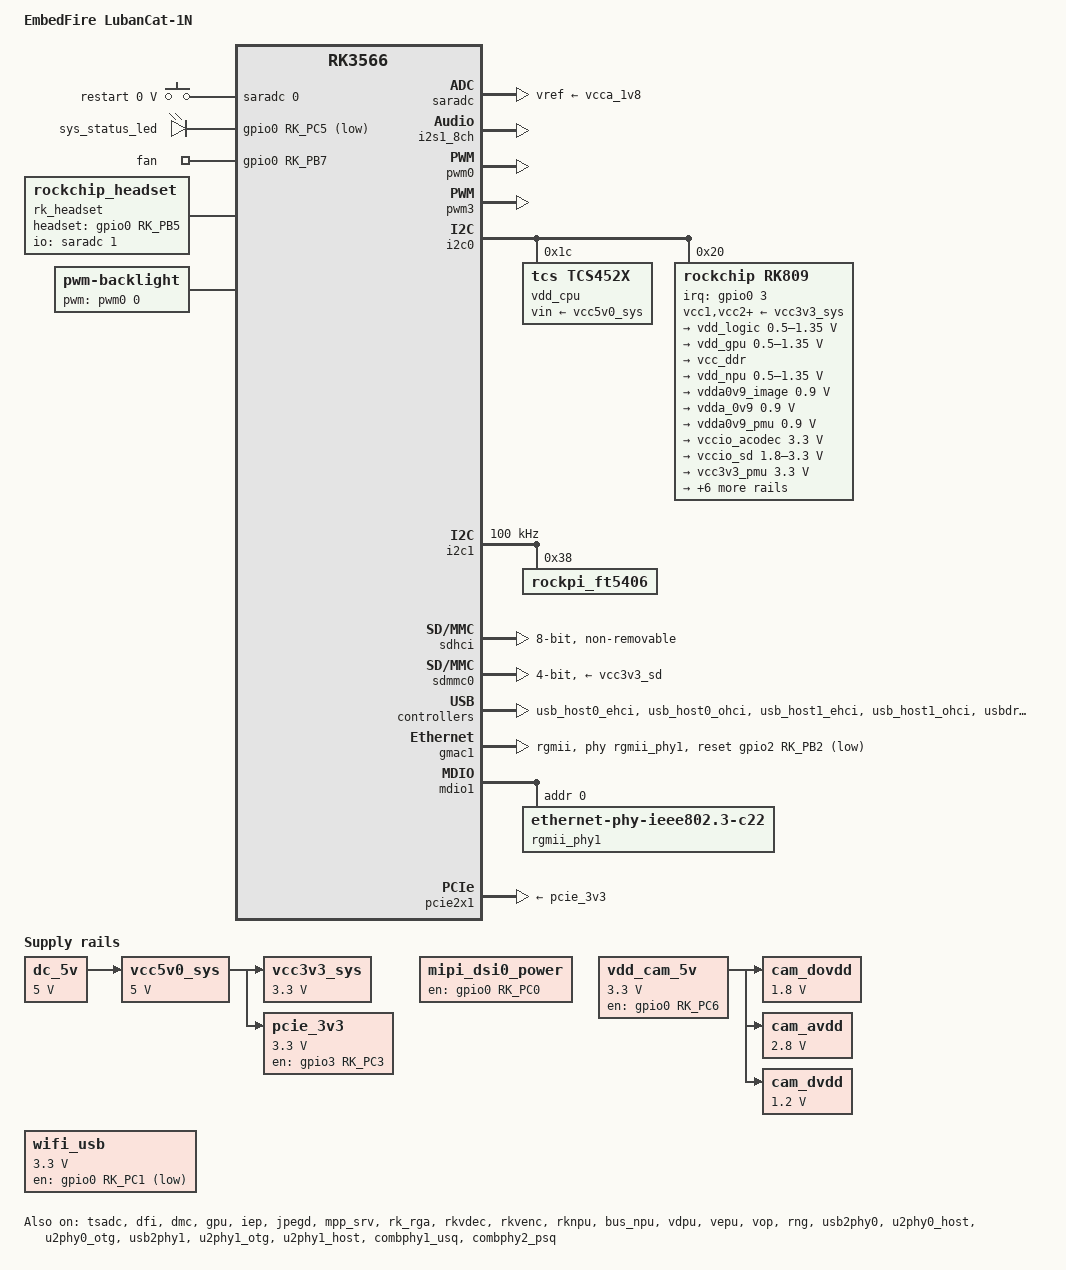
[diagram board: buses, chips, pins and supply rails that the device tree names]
// SPDX-License-Identifier: (GPL-2.0+ OR MIT)
/*
 * Copyright (c) 2020 Rockchip Electronics Co., Ltd.
 *
 */

 /dts-v1/;

#include <dt-bindings/gpio/gpio.h>
#include <dt-bindings/pwm/pwm.h>
#include <dt-bindings/pinctrl/rockchip.h>
#include <dt-bindings/input/rk-input.h>
#include <dt-bindings/display/drm_mipi_dsi.h>
#include <dt-bindings/display/rockchip_vop.h>
#include <dt-bindings/sensor-dev.h>
#include "rk3566.dtsi"

//MIPI摄像头配置
#include "rk3568-lubancat-csi2.dtsi"

/*  屏幕设置，通用镜像使用设备树插件,默认开启hdmi
	专用镜像如果要开启MIPI屏幕支持，按屏幕型号开启2-4
	以下4个配置互斥，不可同时开启
*/
//#include "rk3566-lubancat-hdmi.dtsi" //HDMI输出
// #include "rk3566-lubancat-dsi0-ebf410125_720p.dtsi" //野火5.5寸 720P
// #include "rk3566-lubancat-dsi0-ebf410125_1080p.dtsi" //野火5.5寸 1080P
// #include "rk3566-lubancat-dsi0-rpi.dtsi" //树莓派 5寸 800x480


/ {
	model = "EmbedFire LubanCat-1N";
	compatible = "embedfire,lubancat-1n", "rockchip,rk3566";

	chosen: chosen {
		bootargs = "earlycon=uart8250,mmio32,0xfe660000 console=ttyFIQ0 root=PARTUUID=614e0000-0000 rw rootwait";
	};

	fiq-debugger {
		compatible = "rockchip,fiq-debugger";
		rockchip,serial-id = <2>;
		rockchip,wake-irq = <0>;
		/* If enable uart uses irq instead of fiq */
		rockchip,irq-mode-enable = <1>;
		rockchip,baudrate = <1500000>;  /* Only 115200 and 1500000 */
		interrupts = <GIC_SPI 252 IRQ_TYPE_LEVEL_LOW>;
		pinctrl-names = "default";
		pinctrl-0 = <&uart2m0_xfer>;
		status = "okay";
	};

	debug: debug@fd904000 {
		compatible = "rockchip,debug";
		reg = <0x0 0xfd904000 0x0 0x1000>,
			<0x0 0xfd905000 0x0 0x1000>,
			<0x0 0xfd906000 0x0 0x1000>,
			<0x0 0xfd907000 0x0 0x1000>;
	};

	cspmu: cspmu@fd90c000 {
		compatible = "rockchip,cspmu";
		reg = <0x0 0xfd90c000 0x0 0x1000>,
			<0x0 0xfd90d000 0x0 0x1000>,
			<0x0 0xfd90e000 0x0 0x1000>,
			<0x0 0xfd90f000 0x0 0x1000>;
	};

	reserved-memory {
		#address-cells = <2>;
		#size-cells = <2>;
		ranges;
		ramoops: ramoops@110000 {
			compatible = "ramoops";
			reg = <0x0 0x110000 0x0 0xf0000>;
			record-size = <0x20000>;
			console-size = <0x80000>;
			ftrace-size = <0x00000>;
			pmsg-size = <0x50000>;
		};
	};

	adc_keys: adc-keys {
		compatible = "adc-keys";
		io-channels = <&saradc 0>;
		io-channel-names = "buttons";
		keyup-threshold-microvolt = <1800000>;
		poll-interval = <100>;

		restart-key {
			label = "restart";
			linux,code = <KEY_RESTART>;
			press-threshold-microvolt = <9>;
		};
	};

	dc_5v: dc-5v {
		compatible = "regulator-fixed";
		regulator-name = "dc_5v";
		regulator-always-on;
		regulator-boot-on;
		regulator-min-microvolt = <5000000>;
		regulator-max-microvolt = <5000000>;
	};

	vcc5v0_sys: vcc5v0-sys {
		compatible = "regulator-fixed";
		regulator-name = "vcc5v0_sys";
		regulator-always-on;
		regulator-boot-on;
		regulator-min-microvolt = <5000000>;
		regulator-max-microvolt = <5000000>;
		vin-supply = <&dc_5v>;
	};

	vcc3v3_sys: vcc3v3-sys {
		compatible = "regulator-fixed";
		regulator-name = "vcc3v3_sys";
		regulator-always-on;
		regulator-boot-on;
		regulator-min-microvolt = <3300000>;
		regulator-max-microvolt = <3300000>;
		vin-supply = <&vcc5v0_sys>;
	};

	pcie_3v3: pcie2-3v3-regulator {
		compatible = "regulator-fixed";
		regulator-name = "pcie_3v3";
		regulator-min-microvolt = <3300000>;
		regulator-max-microvolt = <3300000>;
		enable-active-high;
		gpio = <&gpio3 RK_PC3 GPIO_ACTIVE_HIGH>;
		startup-delay-us = <5000>;
		vin-supply = <&vcc5v0_sys>;
	};

	mipi_dsi0_power: mipi-dsi0-power-regulator {
		compatible = "regulator-fixed";
		enable-active-high;
		gpio = <&gpio0 RK_PC0 GPIO_ACTIVE_HIGH>;
		pinctrl-names = "default";
		pinctrl-0 = <&mipi_dsi0_pwr_en>;
		regulator-name = "mipi_dsi0_power";
		regulator-always-on;
	};

	vdd_cam_5v: vdd-cam-5v-regulator {
		compatible = "regulator-fixed";
		regulator-name = "vdd_cam_5v";
		regulator-min-microvolt = <3300000>;
		regulator-max-microvolt = <3300000>;
		gpio = <&gpio0 RK_PC6 GPIO_ACTIVE_HIGH>;
		pinctrl-names = "default";
		pinctrl-0 = <&cam_pwr_en>;
		enable-active-high;
		regulator-always-on;
	};

	cam_dovdd: cam-dovdd {
		compatible = "regulator-fixed";
		regulator-name = "cam_dovdd";
		regulator-always-on;
		regulator-boot-on;
		regulator-min-microvolt = <1800000>;
		regulator-max-microvolt = <1800000>;
		vin-supply = <&vdd_cam_5v>;
	};

	cam_avdd: cam-avdd {
		compatible = "regulator-fixed";
		regulator-name = "cam_avdd";
		regulator-always-on;
		regulator-boot-on;
		regulator-min-microvolt = <2800000>;
		regulator-max-microvolt = <2800000>;
		vin-supply = <&vdd_cam_5v>;
	};

	cam_dvdd: cam-dvdd {
		compatible = "regulator-fixed";
		regulator-name = "cam_dvdd";
		regulator-always-on;
		regulator-boot-on;
		regulator-min-microvolt = <1200000>;
		regulator-max-microvolt = <1200000>;
		vin-supply = <&vdd_cam_5v>;
	};

	leds: leds {
		status = "okay";
		compatible = "gpio-leds";

		sys_status_led: sys-status-led {
			label = "sys_status_led";
			linux,default-trigger = "heartbeat";
			default-state = "on";
			gpios = <&gpio0 RK_PC5 GPIO_ACTIVE_LOW>;
			pinctrl-names = "default";
			pinctrl-0 = <&sys_status_led_pin>;
		};

		fan: fan {
			label = "fan";
			default-state = "on";
			linux,default-trigger = "none";
			gpios = <&gpio0 RK_PB7 GPIO_ACTIVE_HIGH>;
			pinctrl-names = "default";
			pinctrl-0 = <&fan_pin>;
		};
		
	};

	rk809_sound: rk809-sound {
		status = "okay";
		compatible = "simple-audio-card";
		simple-audio-card,format = "i2s";
		simple-audio-card,name = "rockchip,rk809-codec";
		simple-audio-card,mclk-fs = <256>;
		simple-audio-card,widgets =
			"Microphone", "Mic Jack",
			"Headphone", "Headphone Jack";
		simple-audio-card,routing =
			"Mic Jack", "MICBIAS1",
			"IN1P", "Mic Jack",
			"Headphone Jack", "HPOL",
			"Headphone Jack", "HPOR";
		simple-audio-card,cpu {
			sound-dai = <&i2s1_8ch>;
		};
		simple-audio-card,codec {
			sound-dai = <&rk809_codec>;
		};
	};

	rk_headset: rk-headset {
		status = "okay";
		compatible = "rockchip_headset";
		headset_gpio = <&gpio0 RK_PB5 GPIO_ACTIVE_HIGH>;
		pinctrl-names = "default";
		pinctrl-0 = <&hp_det>;
		io-channels = <&saradc 1>;
	};

	backlight: backlight {
		status = "okay";
		compatible = "pwm-backlight";
		pwms = <&pwm0 0 50000 0>;
		brightness-levels = <
			 95  95  95  95  95  95  95  95
			 95  95  95  95  95  95  95  95
			 95  95  95  95  95  95  95  95
			 95  95  95  95  95  95  95  95
			 95  95  95  95  95  95  95  95
			 95  95  95  95  95  95  95  95
			 95  95  95  95  95  95  95  95
			 95  95  95  95  95  95  95  95
			 95  95  95  95  95  95  95  95
			 95  95  95  95  95  95  95  95
			 95  95  95  95  95  95  95  95
			 88  89  90  91  92  93  94  95
			 96  97  98  99 100 101 102 103
			104 105 106 107 108 109 110 111
			112 113 114 115 116 117 118 119
			120 121 122 123 124 125 126 127
			128 129 130 131 132 133 134 135
			136 137 138 139 140 141 142 143
			144 145 146 147 148 149 150 151
			152 153 154 155 156 157 158 159
			160 161 162 163 164 165 166 167
			168 169 170 171 172 173 174 175
			176 177 178 179 180 181 182 183
			184 185 186 187 188 189 190 191
			192 193 194 195 196 197 198 199
			200 201 202 203 204 205 206 207
			208 209 210 211 212 213 214 215
			216 217 218 219 220 221 222 223
			224 225 226 227 228 229 230 231
			232 233 234 235 236 237 238 239
			240 241 242 243 244 245 246 247
			248 249 250 251 252 253 254 255
		>;
		default-brightness-level = <200>;
	};

	wifi_usb: wifi-usb {
		compatible = "regulator-fixed";
		regulator-name = "wifi_usb";
		regulator-min-microvolt = <3300000>;
		regulator-max-microvolt = <3300000>;
		pinctrl-names = "default";
		pinctrl-0 = <&wifi_poweren_gpio>;		
		regulator-always-on;
		enable-active-low;
		gpio = <&gpio0 RK_PC1 GPIO_ACTIVE_LOW>;
	};

	test-power {
		status = "okay";
	};
};

&saradc {
	vref-supply = <&vcca_1v8>;
	status = "okay";
};

&tsadc {
	status = "okay";
};

&i2s1_8ch {
	status = "okay";
	rockchip,clk-trcm = <1>;
	/delete-property/ rockchip,playback-only;
	pinctrl-names = "default";
	pinctrl-0 = <&i2s1m0_sclktx
					&i2s1m0_lrcktx
					&i2s1m0_sdi0
					&i2s1m0_sdo0>;
};

&pwm0 {
	status = "okay";
	pinctrl-0 = <&pwm0m1_pins>;
};

&pwm3 {
	status = "okay";

	compatible = "rockchip,remotectl-pwm";
	remote_pwm_id = <3>;
	handle_cpu_id = <1>;
	remote_support_psci = <0>;
	pinctrl-names = "default";
	pinctrl-0 = <&pwm3_pins>;

	ir_key_lubancat{
		rockchip,usercode = <0xff00>;
		rockchip,key_table =
			<0xeb   KEY_POWER>,
			<0xec   KEY_MENU>,
			<0xfe   KEY_BACK>,
			<0xb7   KEY_HOME>,
			<0xa3   KEY_WWW>,
			<0xf4   KEY_VOLUMEUP>,
			<0xa7   KEY_VOLUMEDOWN>,
			<0xf8   KEY_REPLY>,
			<0xfc   KEY_UP>,
			<0xfd   KEY_DOWN>,
			<0xf1   KEY_LEFT>,
			<0xe5   KEY_RIGHT>;
	};
};

&cpu0 {
	cpu-supply = <&vdd_cpu>;
};

&dfi {
	status = "okay";
};

&dmc {
	center-supply = <&vdd_logic>;
	status = "okay";
};

&gpu {
	mali-supply = <&vdd_gpu>;
	status = "okay";
};

&i2c0 {
	status = "okay";

	vdd_cpu: tcs4525@1c {
		compatible = "tcs,tcs452x";
		reg = <0x1c>;
		vin-supply = <&vcc5v0_sys>;
		regulator-compatible = "fan53555-reg";
		regulator-name = "vdd_cpu";
		regulator-min-microvolt = <712500>;
		regulator-max-microvolt = <1390000>;
		regulator-ramp-delay = <2300>;
		fcs,suspend-voltage-selector = <1>;
		regulator-boot-on;
		regulator-always-on;
		regulator-state-mem {
			regulator-off-in-suspend;
		};
	};

	rk809: pmic@20 {
		compatible = "rockchip,rk809";
		reg = <0x20>;
		interrupt-parent = <&gpio0>;
		interrupts = <3 IRQ_TYPE_LEVEL_LOW>;

		pinctrl-names = "default", "pmic-sleep",
						"pmic-power-off", "pmic-reset";
		pinctrl-0 = <&pmic_int>;
		pinctrl-1 = <&soc_slppin_slp>, <&rk817_slppin_slp>;
		pinctrl-2 = <&soc_slppin_gpio>, <&rk817_slppin_pwrdn>;
		pinctrl-3 = <&soc_slppin_gpio>, <&rk817_slppin_rst>;

		rockchip,system-power-controller;
		wakeup-source;
		#clock-cells = <1>;
		clock-output-names = "rk808-clkout1", "rk808-clkout2";
		//fb-inner-reg-idxs = <2>;
		/* 1: rst regs (default in codes), 0: rst the pmic */
		pmic-reset-func = <0>;
		/* not save the PMIC_POWER_EN register in uboot */
		not-save-power-en = <1>;

		vcc1-supply = <&vcc3v3_sys>;
		vcc2-supply = <&vcc3v3_sys>;
		vcc3-supply = <&vcc3v3_sys>;
		vcc4-supply = <&vcc3v3_sys>;
		vcc5-supply = <&vcc3v3_sys>;
		vcc6-supply = <&vcc3v3_sys>;
		vcc7-supply = <&vcc3v3_sys>;
		vcc8-supply = <&vcc3v3_sys>;
		vcc9-supply = <&vcc3v3_sys>;

		pwrkey {
			status = "okay";
		};

		pinctrl_rk8xx: pinctrl_rk8xx {
			gpio-controller;
			#gpio-cells = <2>;

			rk817_slppin_null: rk817_slppin_null {
				pins = "gpio_slp";
				function = "pin_fun0";
			};

			rk817_slppin_slp: rk817_slppin_slp {
				pins = "gpio_slp";
				function = "pin_fun1";
			};

			rk817_slppin_pwrdn: rk817_slppin_pwrdn {
				pins = "gpio_slp";
				function = "pin_fun2";
			};

			rk817_slppin_rst: rk817_slppin_rst {
				pins = "gpio_slp";
				function = "pin_fun3";
			};
		};

		regulators {
			vdd_logic: DCDC_REG1 {
				regulator-always-on;
				regulator-boot-on;
				regulator-min-microvolt = <500000>;
				regulator-max-microvolt = <1350000>;
				regulator-init-microvolt = <900000>;
				regulator-ramp-delay = <6001>;
				regulator-initial-mode = <0x2>;
				regulator-name = "vdd_logic";
				regulator-state-mem {
					regulator-off-in-suspend;
				};
			};

			vdd_gpu: DCDC_REG2 {
				regulator-always-on;
				regulator-boot-on;
				regulator-min-microvolt = <500000>;
				regulator-max-microvolt = <1350000>;
				regulator-init-microvolt = <900000>;
				regulator-ramp-delay = <6001>;
				regulator-initial-mode = <0x2>;
				regulator-name = "vdd_gpu";
				regulator-state-mem {
					regulator-off-in-suspend;
				};
			};

			vcc_ddr: DCDC_REG3 {
				regulator-always-on;
				regulator-boot-on;
				regulator-initial-mode = <0x2>;
				regulator-name = "vcc_ddr";
				regulator-state-mem {
					regulator-on-in-suspend;
				};
			};

			vdd_npu: DCDC_REG4 {
				regulator-always-on;
				regulator-boot-on;
				regulator-min-microvolt = <500000>;
				regulator-max-microvolt = <1350000>;
				regulator-init-microvolt = <900000>;
				regulator-ramp-delay = <6001>;
				regulator-initial-mode = <0x2>;
				regulator-name = "vdd_npu";
				regulator-state-mem {
					regulator-off-in-suspend;
				};
			};

			vdda0v9_image: LDO_REG1 {
				regulator-boot-on;
				regulator-always-on;
				regulator-min-microvolt = <900000>;
				regulator-max-microvolt = <900000>;
				regulator-name = "vdda0v9_image";
				regulator-state-mem {
					regulator-off-in-suspend;
				};
			};

			vdda_0v9: LDO_REG2 {
				regulator-always-on;
				regulator-boot-on;
				regulator-min-microvolt = <900000>;
				regulator-max-microvolt = <900000>;
				regulator-name = "vdda_0v9";
				regulator-state-mem {
					regulator-off-in-suspend;
				};
			};

			vdda0v9_pmu: LDO_REG3 {
				regulator-always-on;
				regulator-boot-on;
				regulator-min-microvolt = <900000>;
				regulator-max-microvolt = <900000>;
				regulator-name = "vdda0v9_pmu";
				regulator-state-mem {
					regulator-on-in-suspend;
					regulator-suspend-microvolt = <900000>;
				};
			};

			vccio_acodec: LDO_REG4 {
				regulator-always-on;
				regulator-boot-on;
				regulator-min-microvolt = <3300000>;
				regulator-max-microvolt = <3300000>;
				regulator-name = "vccio_acodec";
				regulator-state-mem {
					regulator-off-in-suspend;
				};
			};

			vccio_sd: LDO_REG5 {
				regulator-always-on;
				regulator-boot-on;
				regulator-min-microvolt = <1800000>;
				regulator-max-microvolt = <3300000>;
				regulator-name = "vccio_sd";
				regulator-state-mem {
					regulator-off-in-suspend;
				};
			};

			vcc3v3_pmu: LDO_REG6 {
				regulator-always-on;
				regulator-boot-on;
				regulator-min-microvolt = <3300000>;
				regulator-max-microvolt = <3300000>;
				regulator-name = "vcc3v3_pmu";
				regulator-state-mem {
					regulator-on-in-suspend;
					regulator-suspend-microvolt = <3300000>;
				};
			};

			vcca_1v8: LDO_REG7 {
				regulator-always-on;
				regulator-boot-on;
				regulator-min-microvolt = <1800000>;
				regulator-max-microvolt = <1800000>;
				regulator-name = "vcca_1v8";
				regulator-state-mem {
					regulator-off-in-suspend;
				};
			};

			vcca1v8_pmu: LDO_REG8 {
				regulator-always-on;
				regulator-boot-on;
				regulator-min-microvolt = <1800000>;
				regulator-max-microvolt = <1800000>;
				regulator-name = "vcca1v8_pmu";
				regulator-state-mem {
					regulator-on-in-suspend;
					regulator-suspend-microvolt = <1800000>;
				};
			};

			vcca1v8_image: LDO_REG9 {
				regulator-always-on;
				regulator-boot-on;
				regulator-min-microvolt = <1800000>;
				regulator-max-microvolt = <1800000>;
				regulator-name = "vcca1v8_image";
				regulator-state-mem {
					regulator-off-in-suspend;
				};
			};

			vcc_1v8: DCDC_REG5 {
				regulator-always-on;
				regulator-boot-on;
				regulator-min-microvolt = <1800000>;
				regulator-max-microvolt = <1800000>;
				regulator-name = "vcc_1v8";
				regulator-state-mem {
					regulator-off-in-suspend;
				};
			};

			vcc_3v3: SWITCH_REG1 {
				regulator-always-on;
				regulator-boot-on;
				regulator-name = "vcc_3v3";
				regulator-state-mem {
					regulator-off-in-suspend;
				};
			};

			vcc3v3_sd: SWITCH_REG2 {
				regulator-always-on;
				regulator-boot-on;
				regulator-name = "vcc3v3_sd";
				regulator-state-mem {
					regulator-off-in-suspend;
				};
			};
		};

		rk809_codec: codec {
			#sound-dai-cells = <0>;
			compatible = "rockchip,rk809-codec", "rockchip,rk817-codec";
			clocks = <&cru I2S1_MCLKOUT_TX>;
			clock-names = "mclk";
			assigned-clocks = <&cru I2S1_MCLKOUT_TX>, <&cru I2S1_MCLK_TX_IOE>;
			assigned-clock-rates = <12288000>;
			assigned-clock-parents = <&cru CLK_I2S1_8CH_TX>, <&cru I2S1_MCLKOUT_TX>;
			pinctrl-names = "default";
			pinctrl-0 = <&i2s1m0_mclk>;
			hp-volume = <20>;
			spk-volume = <3>;
			//mic-in-differential;
			status = "okay";
		};
	};
};

//cam-gpio-setting
&ov5647 {
    pwdn-gpios = <&gpio0 RK_PC3 GPIO_ACTIVE_LOW>;
};

&ov5648 {
	pwdn-gpios = <&gpio0 RK_PC3 GPIO_ACTIVE_HIGH>;
	reset-gpios = <&gpio0 RK_PC4 GPIO_ACTIVE_LOW>;
};

&ov8858 {
	pwdn-gpios = <&gpio0 RK_PC3 GPIO_ACTIVE_HIGH>;
	reset-gpios = <&gpio0 RK_PC4 GPIO_ACTIVE_HIGH>;
};

&ov13850 {
	pwdn-gpios = <&gpio0 RK_PC3 GPIO_ACTIVE_HIGH>;
	reset-gpios = <&gpio0 RK_PC4 GPIO_ACTIVE_HIGH>;
};
 
&sc132gs {
	pwdn-gpios = <&gpio0 RK_PC3 GPIO_ACTIVE_HIGH>;
	reset-gpios = <&gpio0 RK_PC4 GPIO_ACTIVE_HIGH>;
};

&i2c1 {
	status = "okay";
	clock-frequency = <100000>;

	rockpi_ft5406: rockpi_ft5406@38 {
		compatible = "rockpi_ft5406";
		reg = <0x38>;
		status = "okay";
	};
};

&iep {
	status = "okay";
};

&iep_mmu {
	status = "okay";
};

&jpegd {
	status = "okay";
};

&jpegd_mmu {
	status = "okay";
};

&mpp_srv {
	status = "okay";
};

&pmu_io_domains {
	status = "okay";
	pmuio2-supply = <&vcc3v3_pmu>;
	vccio1-supply = <&vccio_acodec>;
	vccio3-supply = <&vccio_sd>;
	vccio4-supply = <&vcc_3v3>;
	vccio5-supply = <&vcc_3v3>;
	vccio6-supply = <&vcc_1v8>;
	vccio7-supply = <&vcc_3v3>;
};

&rk_rga {
	status = "okay";
};

&rkvdec {
	status = "okay";
};

&rkvdec_mmu {
	status = "okay";
};

&rkvenc {
	venc-supply = <&vdd_logic>;
	status = "okay";
};

&rkvenc_mmu {
	status = "okay";
};

&rknpu {
	rknpu-supply = <&vdd_npu>;
	status = "okay";
};

&rknpu_mmu {
	status = "okay";
};

&bus_npu {
	bus-supply = <&vdd_logic>;
	pvtm-supply = <&vdd_cpu>;
	status = "okay";
};

&sdhci {
	bus-width = <8>;
	max-frequency = <200000000>;
	mmc-hs200-1_8v;		
	non-removable;
	supports-emmc;
	status = "okay";
};

&sdmmc0 {
	max-frequency = <150000000>;
	supports-sd;
	bus-width = <4>;
	cap-mmc-highspeed;
	cap-sd-highspeed;
	disable-wp;
	sd-uhs-sdr104;
	vmmc-supply = <&vcc3v3_sd>;
	vqmmc-supply = <&vccio_sd>;
	pinctrl-names = "default";
	pinctrl-0 = <&sdmmc0_bus4 &sdmmc0_clk &sdmmc0_cmd &sdmmc0_det>;
	status = "okay";
};

&vdpu {
	status = "okay";
};

&vdpu_mmu {
	status = "okay";
};

&vepu {
	status = "okay";
};

&vepu_mmu {
	status = "okay";
};

&vop {
	status = "okay";
	assigned-clocks = <&cru DCLK_VOP0>, <&cru DCLK_VOP1>;
	assigned-clock-parents = <&pmucru PLL_HPLL>, <&cru PLL_VPLL>;
};

&vop_mmu {
	status = "okay";
};

&vp0 {
	rockchip,plane-mask = <(1 << ROCKCHIP_VOP2_CLUSTER0 | 1 << ROCKCHIP_VOP2_ESMART0 | 1 << ROCKCHIP_VOP2_SMART0)>;
	rockchip,primary-plane = <ROCKCHIP_VOP2_SMART0>;
	// cursor-win-id = <ROCKCHIP_VOP2_CLUSTER0>;
};

&vp1 {
	rockchip,plane-mask = <(1 << ROCKCHIP_VOP2_CLUSTER1 | 1 << ROCKCHIP_VOP2_ESMART1 | 1 << ROCKCHIP_VOP2_SMART1)>;
	rockchip,primary-plane = <ROCKCHIP_VOP2_SMART1>;
	// cursor-win-id = <ROCKCHIP_VOP2_CLUSTER1>;
};

&rng {
	status = "okay";
};

/* USB OTG/USB Host_1 USB 2.0 Comb */
&usb2phy0 {
	status = "okay";
};

&u2phy0_host {
	status = "okay";
};

&u2phy0_otg {
	status = "okay";
};

&usb_host0_ehci {
	status = "okay";
};

&usb_host0_ohci {
	status = "okay";
};

/* USB Host_2/USB Host_3 USB 2.0 Comb */
&usb2phy1 {
	status = "okay";
};

&u2phy1_otg {
	status = "okay";
};

&u2phy1_host {
	status = "okay";
};

&usb_host1_ehci {
	status = "okay";
};

&usb_host1_ohci {
	status = "okay";
};

/* USB3.0 OTG Only USB2.0 */
&usbdrd30 {
	status = "okay";
};

&usbdrd_dwc3 {
	status = "okay";
};

/* USB3.0 Host */
&combphy1_usq {
	status = "okay";
};

&usbhost30 {
	status = "okay";
};

&usbhost_dwc3 {
	status = "okay";
};

&gmac1 {
	phy-mode = "rgmii";
	clock_in_out = "output";

	snps,reset-gpio = <&gpio2 RK_PB2 GPIO_ACTIVE_LOW>;
	snps,reset-active-low;
	/* Reset time is 100ms, 100ms */
	snps,reset-delays-us = <0 75000 100000>;

	assigned-clocks = <&cru SCLK_GMAC1_RX_TX>, <&cru SCLK_GMAC1>;
	assigned-clock-parents = <&cru SCLK_GMAC1_RGMII_SPEED>, <&cru CLK_MAC1_2TOP>;
	assigned-clock-rates = <0>, <125000000>;

	pinctrl-names = "default";
	pinctrl-0 = <&gmac1m1_miim
			 &gmac1m1_tx_bus2_level3
			 &gmac1m1_rx_bus2
			 &gmac1m1_rgmii_clk_level2
			 &gmac1m1_rgmii_bus_level3>;

	// RTL8211F
	// tx_delay = <0x24>;
	// rx_delay = <0x08>;

	// JL2101
	// tx_delay = <0x1a>;
	// rx_delay = <0x08>;

	tx_delay = <0x24>;
	rx_delay = <0x08>;

	phy-handle = <&rgmii_phy1>;
	status = "okay";
};

&mdio1 {
	rgmii_phy1: phy@0 {
		compatible = "ethernet-phy-ieee802.3-c22";
		reg = <0x0>;
	};
};

&pcie2x1 {
	vpcie3v3-supply = <&pcie_3v3>;
	status = "okay";
};

&combphy2_psq {
		status = "okay";
};

&pinctrl {
	pmic {
		pmic_int: pmic_int {
			rockchip,pins = <0 RK_PA3 RK_FUNC_GPIO &pcfg_pull_up>;
		};

		soc_slppin_gpio: soc_slppin_gpio {
			rockchip,pins = <0 RK_PA2 RK_FUNC_GPIO &pcfg_output_low_pull_down>;
		};

		soc_slppin_slp: soc_slppin_slp {
			rockchip,pins = <0 RK_PA2 RK_FUNC_1 &pcfg_pull_up>;
		};

		soc_slppin_rst: soc_slppin_rst {
			rockchip,pins = <0 RK_PA2 RK_FUNC_2 &pcfg_pull_none>;
		};

		spk_ctl_gpio: spk_ctl_gpio {
			rockchip,pins = <3 RK_PC5 RK_FUNC_GPIO &pcfg_pull_up>;
		};
	};

	headphone {
		hp_det: hp-det {
			rockchip,pins = <0 RK_PB5 RK_FUNC_GPIO &pcfg_pull_none>;
		};
	};

	wireless-wlan {
		wifi_poweren_gpio: wifi-poweren-gpio {
			rockchip,pins = <0 RK_PC1 RK_FUNC_GPIO &pcfg_pull_none>;
		};
	};

	lcd {
		mipi_dsi0_pwr_en: mipi-dsi0-pwr-en {
			rockchip,pins = <0 RK_PC0 RK_FUNC_GPIO &pcfg_pull_none>;
		};
	};

	cam {
		cam_pwr_en: cam-pwr-en {
			rockchip,pins = <0 RK_PC6 RK_FUNC_GPIO &pcfg_pull_none>;
		};
	};

	leds {
		sys_status_led_pin: sys-status-led-pin {
			rockchip,pins = <0 RK_PC7 RK_FUNC_GPIO &pcfg_pull_none>;
		};

		fan_pin: fan-pin {
			rockchip,pins = <0 RK_PB7 RK_FUNC_GPIO &pcfg_pull_none>;
		};
	};

	spi3 {
		spi3_cs0: spi3-cs0 {
			rockchip,pins = <4 RK_PC6 RK_FUNC_GPIO &pcfg_pull_up_drv_level_0>;
		};

		spi3_cs1: spi3-cs1 {
			rockchip,pins = <4 RK_PC4 RK_FUNC_GPIO &pcfg_pull_up_drv_level_0>;
		};
	};
};
